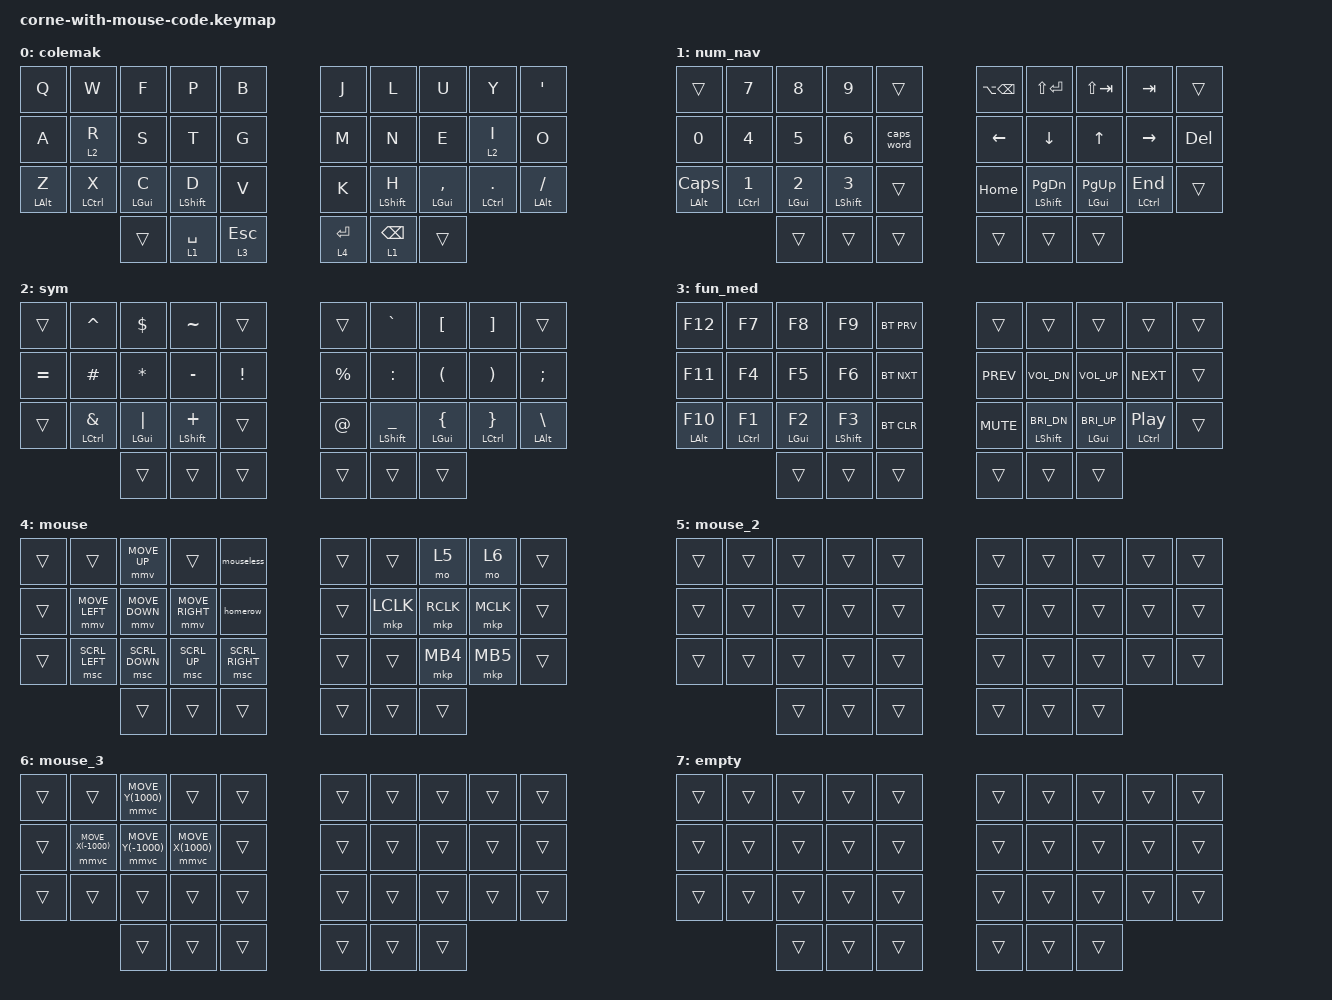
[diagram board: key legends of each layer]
// #define ZMK_POINTING_DEFAULT_MOVE_VAL 1500 // 600
// #define ZMK_POINTING_DEFAULT_SCRL_VAL 30 // 10

#define ___ &trans

#include <behaviors.dtsi>
#include <dt-bindings/zmk/keys.h>
#include <dt-bindings/zmk/bt.h>

#include <dt-bindings/zmk/pointing.h>
#include <input/processors.dtsi>

// &mmv {
//     acceleration-exponent = <1>;      // 1
//     time-to-max-speed-ms = <500>;     // 300
//     trigger-period-ms = <8>;
// };
//
// &msc {
//     acceleration-exponent = <1>;      // 0
//     time-to-max-speed-ms = <40>;      // 300
//     trigger-period-ms = <8>;
// };

// &mmv_input_listener {
//     precision {
//         layers = <5>;
//         input-processors = <&zip_xy_scaler 1 4>;
//     };
// };
//
// &msc_input_listener {
//     turbo {
//         layers = <5>;
//         input-processors = <&zip_scroll_scaler 4 1>;
//     };
// };

/ {
    combos {
        compatible = "zmk,combos";
        combo_space {
            timeout-ms = <35>;
            key-positions = <23 31>;
            bindings = <&kp SPACE>;
            require-prior-idle-ms = <125>;
            slow-release;
        };
        combo_sft {
            timeout-ms = <35>;
            key-positions = <26 34>;
            bindings = <&kp LSHIFT>;
            require-prior-idle-ms = <125>;
            slow-release;
        };
        combo_sym {
            timeout-ms = <35>;
            key-positions = <18 34>;
            bindings = <&mo 2>;
            require-prior-idle-ms = <125>;
            slow-release;
        };
    };
};

/ {
    chosen {
        zmk,physical-layout = &foostan_corne_5col_layout;
    };

    behaviors {
        mmvc: mouse_move_constant {
                compatible = "zmk,behavior-input-two-axis";
                #binding-cells = <1>;
                x-input-code = <INPUT_REL_X>;
                y-input-code = <INPUT_REL_Y>;
                time-to-max-speed-ms = <300>;  // irrelevant
                acceleration-exponent = <0>;  // changed to zero
        };

        mmvc_input_listener: mmvc_input_listener {
            compatible = "zmk,input-listener";
            device = <&mmvc>;
        };

        blt: balanced_layer_tap {
            compatible = "zmk,behavior-hold-tap";
            flavor = "balanced";
            bindings = <&mo>, <&kp>;
            #binding-cells = <2>;
            tapping-term-ms = <200>;
            quick-tap-ms = <200>;
        };
        bltnq: balanced_layer_tap_fast_no_qt {
            compatible = "zmk,behavior-hold-tap";
            flavor = "balanced";
            bindings = <&mo>, <&kp>;
            #binding-cells = <2>;
            tapping-term-ms = <200>;
        };
        lmt: left_mod_tap {
            compatible = "zmk,behavior-hold-tap";
            flavor = "balanced";
            bindings = <&kp>, <&kp>;
            #binding-cells = <2>;
            tapping-term-ms = <200>;
            quick-tap-ms = <200>;
            require-prior-idle-ms = <125>;
            hold-trigger-key-positions = <5 6 7 8 9 15 16 17 18 19 25 26 27 28 29 33 34 35>;
            hold-trigger-on-release;
        };
        rmt: right_mod_tap {
            compatible = "zmk,behavior-hold-tap";
            flavor = "balanced";
            bindings = <&kp>, <&kp>;
            #binding-cells = <2>;
            tapping-term-ms = <200>;
            quick-tap-ms = <200>;
            require-prior-idle-ms = <125>;
            hold-trigger-key-positions = <0 1 2 3 4 10 11 12 13 14 20 21 22 23 24 30 31 32>;
            hold-trigger-on-release;
        };
        lmtnr: left_mod_tap_no_rpi {
            compatible = "zmk,behavior-hold-tap";
            flavor = "balanced";
            bindings = <&kp>, <&kp>;
            #binding-cells = <2>;
            tapping-term-ms = <200>;
            quick-tap-ms = <200>;
            hold-trigger-key-positions = <5 6 7 8 9 15 16 17 18 19 25 26 27 28 29 33 34 35>;
            hold-trigger-on-release;
        };
        rmtnr: right_mod_tap_no_rpi {
            compatible = "zmk,behavior-hold-tap";
            flavor = "balanced";
            bindings = <&kp>, <&kp>;
            #binding-cells = <2>;
            tapping-term-ms = <200>;
            quick-tap-ms = <200>;
            hold-trigger-key-positions = <0 1 2 3 4 10 11 12 13 14 20 21 22 23 24 30 31 32>;
            hold-trigger-on-release;
        };

        // no quick-tap and no rpi to allow fast typing of symbols
        llt: left_layer_tap {
            compatible = "zmk,behavior-hold-tap";
            flavor = "balanced";
            bindings = <&mo>, <&kp>;
            #binding-cells = <2>;
            tapping-term-ms = <200>;
            hold-trigger-key-positions = <5 6 7 8 9 15 16 17 18 19 25 26 27 28 29 33 34 35>;
            hold-trigger-on-release;
        };
        rlt: right_layer_tap {
            compatible = "zmk,behavior-hold-tap";
            flavor = "balanced";
            bindings = <&mo>, <&kp>;
            #binding-cells = <2>;
            tapping-term-ms = <200>;
            hold-trigger-key-positions = <0 1 2 3 4 10 11 12 13 14 20 21 22 23 24 30 31 32>;
            hold-trigger-on-release;
        };
    };

    keymap {
        compatible = "zmk,keymap";

        colemak {
            bindings = <
&kp Q               &kp W               &kp F               &kp P               &kp B               &kp J               &kp L               &kp U               &kp Y               &kp SQT
&kp A               &llt 2 R            &kp S               &kp T               &kp G               &kp M               &kp N               &kp E               &rlt 2 I            &kp O
&lmt LALT Z         &lmt LCTRL X        &lmt LGUI C         &lmtnr LSHIFT D     &kp V               &kp K               &rmtnr LSHIFT H     &rmt LGUI COMMA     &rmt LCTRL DOT      &rmt LALT FSLH
                                        ___                 &bltnq 1 SPACE      &blt 3 ESC          &blt 4 RET          &blt 1 BSPC         ___
            >;
        };

        num_nav {
            bindings = <
___                 &kp N7              &kp N8              &kp N9              ___                 &kp LA(BSPC)        &kp LS(RET)         &kp LS(TAB)         &kp TAB             ___
&kp N0              &kp N4              &kp N5              &kp N6              &caps_word          &kp LEFT            &kp DOWN            &kp UP              &kp RIGHT           &kp DEL
&lmt LALT CAPS      &lmt LCTRL N1       &lmt LGUI N2        &lmt LSHIFT N3      ___                 &kp HOME            &rmt LSHIFT PG_DN   &rmt LGUI PG_UP     &rmt LCTRL END      ___
                                        ___                 ___                 ___                 ___                 ___                 ___
            >;
        };

        sym {
            bindings = <
___                 &kp CARET           &kp DLLR            &kp TILDE           ___                 ___                 &kp GRAVE           &kp LBKT            &kp RBKT            ___
&kp EQUAL           &kp HASH            &kp STAR            &kp MINUS           &kp EXCL            &kp PRCNT           &kp COLON           &kp LPAR            &kp RPAR            &kp SEMI
___                 &lmt LCTRL AMPS     &lmt LGUI PIPE      &lmt LSHIFT PLUS    ___                 &kp AT              &rmt LSHIFT UNDER   &rmt LGUI LBRC      &rmt LCTRL RBRC     &rmt LALT BSLH
                                        ___                 ___                 ___                 ___                 ___                 ___
            >;
        };

        fun_med {
            bindings = <
&kp F12             &kp F7              &kp F8              &kp F9              &bt BT_PRV          ___                 ___                 ___                 ___                 ___
&kp F11             &kp F4              &kp F5              &kp F6              &bt BT_NXT          &kp C_PREV          &kp C_VOL_DN        &kp C_VOL_UP        &kp C_NEXT          ___
&lmt LALT F10       &lmt LCTRL F1       &lmt LGUI F2        &lmt LSHIFT F3      &bt BT_CLR          &kp C_MUTE         &rmt LSHIFT C_BRI_DN &rmt LGUI C_BRI_UP  &rmt LCTRL C_PP     ___
                                        ___                 ___                 ___                 ___                 ___                 ___
            >;
        };

        mouse {
            bindings = <
___                 ___                 &mmv MOVE_UP        ___                 &mouseless          ___                 ___                 &mo 5               &mo 6               ___
___                 &mmv MOVE_LEFT      &mmv MOVE_DOWN      &mmv MOVE_RIGHT     &homerow            ___                 &mkp LCLK           &mkp RCLK           &mkp MCLK           ___
___                 &msc SCRL_LEFT      &msc SCRL_DOWN      &msc SCRL_UP        &msc SCRL_RIGHT     ___                 ___                 &mkp MB4            &mkp MB5            ___
                                        ___                 ___                 ___                 ___                 ___                 ___
            >;
        };

        mouse_2 {
            bindings = <
___                 ___                 ___                 ___                 ___                 ___                 ___                 ___                 ___                 ___
___                 ___                 ___                 ___                 ___                 ___                 ___                 ___                 ___                 ___
___                 ___                 ___                 ___                 ___                 ___                 ___                 ___                 ___                 ___
                                        ___                 ___                 ___                 ___                 ___                 ___
            >;
        };

        mouse_3 {
            bindings = <
___                 ___                 &mmvc MOVE_Y(1000)  ___                 ___                 ___                 ___                 ___                 ___                 ___
___                 &mmvc MOVE_X(-1000) &mmvc MOVE_Y(-1000) &mmvc MOVE_X(1000)  ___                 ___                 ___                 ___                 ___                 ___
___                 ___                 ___                 ___                 ___                 ___                 ___                 ___                 ___                 ___
                                        ___                 ___                 ___                 ___                 ___                 ___
            >;
        };

        empty {
            bindings = <
___                 ___                 ___                 ___                 ___                 ___                 ___                 ___                 ___                 ___
___                 ___                 ___                 ___                 ___                 ___                 ___                 ___                 ___                 ___
___                 ___                 ___                 ___                 ___                 ___                 ___                 ___                 ___                 ___
                                        ___                 ___                 ___                 ___                 ___                 ___
            >;
        };
    };
};
